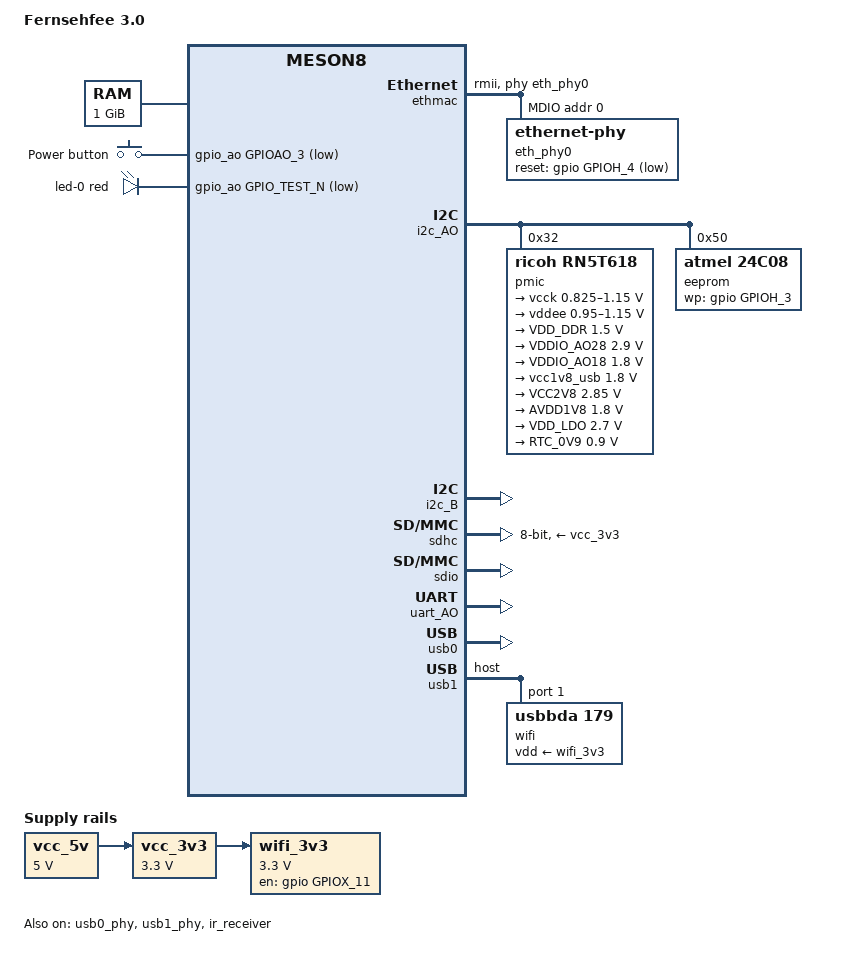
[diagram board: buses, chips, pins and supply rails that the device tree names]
// SPDX-License-Identifier: GPL-2.0-only OR MIT
// Copyright (C) 2025 J. Neuschäfer <j.ne@posteo.net>

/dts-v1/;

#include <dt-bindings/gpio/gpio.h>
#include <dt-bindings/input/linux-event-codes.h>
#include <dt-bindings/leds/common.h>

#include "meson8.dtsi"

/ {
	model = "Fernsehfee 3.0";
	compatible = "tcu,fernsehfee3", "amlogic,meson8";

	aliases {
		serial0 = &uart_AO;
		gpiochip0 = &gpio;
		gpiochip1 = &gpio_ao;
		i2c0 = &i2c_AO;
		i2c1 = &i2c_B;
		mmc0 = &sdhc;
		mmc1 = &sdio;
	};

	chosen {
		stdout-path = "serial0:115200n8";
	};

	memory@0 {
		device_type = "memory";
		reg = <0x0 0x40000000>;  /* 1 GiB */
	};

	gpio-keys {
		compatible = "gpio-keys-polled";
		poll-interval = <100>;

		power-button {
			label = "Power button";
			linux,code = <KEY_POWER>;
			gpios = <&gpio_ao GPIOAO_3 GPIO_ACTIVE_LOW>;
		};
	};

	leds {
		compatible = "gpio-leds";

		led-0 {
			/*
			 * The power LED can be turned red, otherwise it is green.
			 */
			gpios = <&gpio_ao GPIO_TEST_N GPIO_ACTIVE_LOW>;
			function = LED_FUNCTION_POWER;
			color = <LED_COLOR_ID_RED>;
		};
	};

	vcc_5v: regulator-5v {
		/* 5V rail, always on as long as the system is running */
		compatible = "regulator-fixed";
		regulator-name = "5V";
		regulator-min-microvolt = <5000000>;
		regulator-max-microvolt = <5000000>;
		regulator-always-on;
	};

	vcc_3v3: regulator-3v3 {
		/* Chipown AP2420 step-down converter */
		compatible = "regulator-fixed";
		regulator-name = "3.3V";
		regulator-min-microvolt = <3300000>;
		regulator-max-microvolt = <3300000>;
		vin-supply = <&vcc_5v>;
	};

	wifi_3v3: regulator-wifi {
		compatible = "regulator-fixed";
		regulator-name = "3.3V-WIFI";
		regulator-min-microvolt = <3300000>;
		regulator-max-microvolt = <3300000>;
		vin-supply = <&vcc_3v3>;
		gpio = <&gpio GPIOX_11 GPIO_ACTIVE_HIGH>;
		enable-active-high;
	};
};

&cpu0 {
	cpu-supply = <&vcck>;
};

&ethmac {
	status = "okay";
	pinctrl-0 = <&eth_pins>;
	pinctrl-names = "default";
	phy-handle = <&eth_phy0>;
	phy-mode = "rmii";

	mdio {
		compatible = "snps,dwmac-mdio";
		#address-cells = <1>;
		#size-cells = <0>;

		eth_phy0: ethernet-phy@0 {
			/* IC Plus IP101A (0x02430c54) */
			reg = <0>;

			reset-assert-us = <10000>;
			reset-deassert-us = <10000>;
			reset-gpios = <&gpio GPIOH_4 GPIO_ACTIVE_LOW>;
		};
	};
};

&i2c_AO {
	status = "okay";
	pinctrl-0 = <&i2c_ao_pins>;
	pinctrl-names = "default";

	pmic@32 {
		compatible = "ricoh,rn5t618";
		reg = <0x32>;
		system-power-controller;

		regulators {
			vcck: DCDC1 {
				regulator-name = "VCCK";
				regulator-min-microvolt = <825000>;
				regulator-max-microvolt = <1150000>;
				regulator-boot-on;
				regulator-always-on;
			};

			vddee: DCDC2 {
				/* the output is also used as VDDAO */
				regulator-name = "VDD_EE";
				regulator-min-microvolt = <950000>;
				regulator-max-microvolt = <1150000>;
				regulator-boot-on;
				regulator-always-on;
			};

			DCDC3 {
				regulator-name = "VDD_DDR";
				regulator-min-microvolt = <1500000>;
				regulator-max-microvolt = <1500000>;
				regulator-boot-on;
				regulator-always-on;
			};

			LDO1 {
				regulator-name = "VDDIO_AO28";
				regulator-min-microvolt = <2900000>;
				regulator-max-microvolt = <2900000>;
				regulator-boot-on;
				regulator-always-on;
			};

			LDO2 {
				regulator-name = "VDDIO_AO18";
				regulator-min-microvolt = <1800000>;
				regulator-max-microvolt = <1800000>;
				regulator-boot-on;
				regulator-always-on;
			};

			vcc1v8_usb: LDO3 {
				regulator-name = "VCC1V8_USB";
				regulator-min-microvolt = <1800000>;
				regulator-max-microvolt = <1800000>;
				regulator-boot-on;
			};

			LDO4 {
				/* This one appears to be unused */
				regulator-name = "VCC2V8";
				regulator-min-microvolt = <2850000>;
				regulator-max-microvolt = <2850000>;
			};

			LDO5 {
				regulator-name = "AVDD1V8";
				regulator-min-microvolt = <1800000>;
				regulator-max-microvolt = <1800000>;
				regulator-boot-on;
				regulator-always-on;
			};

			LDORTC1 {
				regulator-name = "VDD_LDO";
				regulator-min-microvolt = <2700000>;
				regulator-max-microvolt = <2700000>;
				regulator-boot-on;
				regulator-always-on;
			};

			LDORTC2 {
				regulator-name = "RTC_0V9";
				regulator-min-microvolt = <900000>;
				regulator-max-microvolt = <900000>;
				regulator-boot-on;
				regulator-always-on;
			};
		};
	};

	eeprom@50 {
		/* Fairchild FM24C08A */
		compatible = "atmel,24c08";
		reg = <0x50>;
		pagesize = <16>;
		wp-gpios = <&gpio GPIOH_3 GPIO_ACTIVE_HIGH>;
		num-addresses = <4>;
	};
};

&i2c_B {
	status = "okay";
	pinctrl-0 = <&i2c_b_pins>;
	pinctrl-names = "default";

	/* TODO: SiI9293 HDMI receiver @ 0x39 */
};

&mali {
	mali-supply = <&vddee>;
};

&sdhc {
	status = "okay";
	pinctrl-0 = <&sdxc_c_pins>;
	pinctrl-names = "default";

	/* eMMC */
	bus-width = <8>;
	max-frequency = <100000000>;

	disable-wp;
	cap-mmc-highspeed;
	mmc-hs200-1_8v;
	no-sdio;

	vmmc-supply = <&vcc_3v3>;
	vqmmc-supply = <&vcc_3v3>;
};

&sdio {
	status = "okay";
	pinctrl-0 = <&sd_b_pins>;

	/* SD card */
	slot@1 {
		compatible = "mmc-slot";
		reg = <1>;
		status = "okay";

		bus-width = <4>;
		cap-mmc-highspeed;
		cap-sd-highspeed;
		disable-wp;

		cd-gpios = <&gpio CARD_6 GPIO_ACTIVE_LOW>;

		vmmc-supply = <&vcc_3v3>;
	};
};

&uart_AO {
	status = "okay";
	pinctrl-0 = <&uart_ao_a_pins>;
	pinctrl-names = "default";
};

&usb0 {
	status = "okay";
};

&usb0_phy {
	status = "okay";
	phy-supply = <&vcc1v8_usb>;
};

&usb1 {
	status = "okay";
	dr_mode = "host";
	#address-cells = <1>;
	#size-cells = <0>;

	wifi: wifi@1 {
		/* Realtek RTL8188 2.4GHz WiFi module */
		compatible = "usbbda,179";
		reg = <1>;
		vdd-supply = <&wifi_3v3>;
	};
};

&usb1_phy {
	status = "okay";
	phy-supply = <&vcc1v8_usb>;
};

&ir_receiver {
	status = "okay";
	pinctrl-0 = <&ir_recv_pins>;
	pinctrl-names = "default";
};
